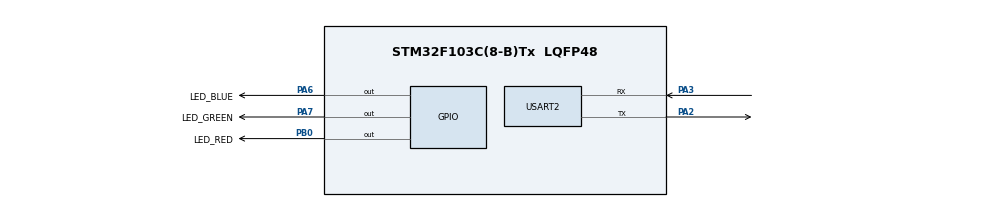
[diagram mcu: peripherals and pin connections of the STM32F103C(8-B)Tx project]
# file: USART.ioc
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Dma.Request0=USART2_TX
Dma.Request1=USART2_RX
Dma.USART2_RX.1.Direction=DMA_PERIPH_TO_MEMORY
Dma.USART2_RX.1.Instance=DMA1_Channel6
Dma.USART2_RX.1.MemDataAlignment=DMA_MDATAALIGN_BYTE
Dma.USART2_RX.1.MemInc=DMA_MINC_ENABLE
Dma.USART2_RX.1.Mode=DMA_NORMAL
Dma.USART2_RX.1.PeriphDataAlignment=DMA_PDATAALIGN_BYTE
Dma.USART2_RX.1.PeriphInc=DMA_PINC_DISABLE
Dma.USART2_RX.1.Priority=DMA_PRIORITY_LOW
Dma.USART2_TX.0.Direction=DMA_MEMORY_TO_PERIPH
Dma.USART2_TX.0.Instance=DMA1_Channel7
Dma.USART2_TX.0.MemDataAlignment=DMA_MDATAALIGN_BYTE
Dma.USART2_TX.0.MemInc=DMA_MINC_ENABLE
Dma.USART2_TX.0.Mode=DMA_NORMAL
Dma.USART2_TX.0.PeriphDataAlignment=DMA_PDATAALIGN_BYTE
Dma.USART2_TX.0.PeriphInc=DMA_PINC_DISABLE
Dma.USART2_TX.0.Priority=DMA_PRIORITY_LOW
Mcu.Family=STM32F1
Mcu.Name=STM32F103C(8-B)Tx
Mcu.Package=LQFP48
NVIC.DMA1_Channel6_IRQn=true\:0\:0\:false\:false\:true\:false\:true\:true
NVIC.DMA1_Channel7_IRQn=true\:0\:0\:false\:false\:true\:false\:true\:true
NVIC.PriorityGroup=NVIC_PRIORITYGROUP_4
NVIC.USART2_IRQn=true\:0\:0\:false\:false\:true\:true\:true\:true
PA13.Mode=Serial_Wire
PA13.Signal=SYS_JTMS-SWDIO
PA14.Mode=Serial_Wire
PA14.Signal=SYS_JTCK-SWCLK
PA2.Mode=Asynchronous
PA2.Signal=USART2_TX
PA3.Mode=Asynchronous
PA3.Signal=USART2_RX
PA6.GPIO_Label=LED_BLUE
PA6.Signal=GPIO_Output
PA7.GPIO_Label=LED_GREEN
PA7.Signal=GPIO_Output
PB0.GPIO_Label=LED_RED
PB0.Signal=GPIO_Output
ProjectManager.HeapSize=0x200
ProjectManager.StackSize=0x400
ProjectManager.TargetToolchain=STM32CubeIDE
RCC.APB1Freq_Value=8000000
RCC.APB2Freq_Value=8000000
USART2.VirtualMode=VM_ASYNC
board=custom

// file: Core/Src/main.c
/* USER CODE BEGIN Header */
/**
  ******************************************************************************
  * @file           : main.c
  * @brief          : Main program body
  ******************************************************************************
  * @attention
  *
  * Copyright (c) 2025 STMicroelectronics.
  * All rights reserved.
  *
  * This software is licensed under terms that can be found in the LICENSE file
  * in the root directory of this software component.
  * If no LICENSE file comes with this software, it is provided AS-IS.
  *
  ******************************************************************************
  */
/* USER CODE END Header */
#include "main.h"

/* USER CODE BEGIN Includes */
#include <string.h>
/* USER CODE END Includes */

UART_HandleTypeDef huart2;
DMA_HandleTypeDef hdma_usart2_tx;
DMA_HandleTypeDef hdma_usart2_rx;

/* USER CODE BEGIN PV */
uint8_t data[ 50 ];
/* USER CODE END PV */

void SystemClock_Config(void);
static void MX_GPIO_Init(void);
static void MX_DMA_Init(void);
static void MX_USART2_UART_Init(void);

/* USER CODE BEGIN 0 */
void HAL_UARTEx_RxEventCallback(UART_HandleTypeDef *huart, uint16_t Size){
	if(huart == &huart2){
	HAL_UART_Transmit_DMA(&huart2, data, sizeof(data));
	GPIO_PinState state = GPIO_PIN_SET ;
	  if(data[1] == '0'){
		  state = GPIO_PIN_RESET;
	  }
	  if(data[0] == 'R'){
		  HAL_GPIO_WritePin(LED_RED_GPIO_Port, LED_RED_Pin, state);
	  }else if(data[0] == 'G'){
		  HAL_GPIO_WritePin(LED_GREEN_GPIO_Port, LED_GREEN_Pin, state);
	  }else if(data[0] == 'B'){
		  HAL_GPIO_WritePin(LED_BLUE_GPIO_Port, LED_BLUE_Pin, state);
	  }
	  HAL_UARTEx_ReceiveToIdle_DMA(&huart2, data, 50);
	  __HAL_DMA_DISABLE_IT(&hdma_usart2_rx,DMA_IT_HT);
	}
}
/* USER CODE END 0 */

int main(void)
{

  /* MCU Configuration--------------------------------------------------------*/

  /* Reset of all peripherals, Initializes the Flash interface and the Systick. */
  HAL_Init();

  /* Configure the system clock */
  SystemClock_Config();

  /* Initialize all configured peripherals */
  MX_GPIO_Init();
  MX_DMA_Init();
  MX_USART2_UART_Init();
  /* USER CODE BEGIN 2 */
//  HAL_UART_Receive_DMA(&huart2, data, 2);
  HAL_UARTEx_ReceiveToIdle_DMA(&huart2, data, 50);
  __HAL_DMA_DISABLE_IT(&hdma_usart2_rx,DMA_IT_HT);
  /* USER CODE END 2 */

  /* Infinite loop */
  /* USER CODE BEGIN WHILE */
  while (1)
  {
	  //	  HAL_UART_Transmit( &huart2, (uint8_t*)message, strlen(message), 100 );
	  //	  HAL_Delay(1000);
    /* USER CODE END WHILE */

  }
}

void SystemClock_Config(void)
{
  RCC_OscInitTypeDef RCC_OscInitStruct = {0};
  RCC_ClkInitTypeDef RCC_ClkInitStruct = {0};

  /** Initializes the RCC Oscillators according to the specified parameters
  * in the RCC_OscInitTypeDef structure.
  */
  RCC_OscInitStruct.OscillatorType = RCC_OSCILLATORTYPE_HSI;
  RCC_OscInitStruct.HSIState = RCC_HSI_ON;
  RCC_OscInitStruct.HSICalibrationValue = RCC_HSICALIBRATION_DEFAULT;
  RCC_OscInitStruct.PLL.PLLState = RCC_PLL_NONE;
  if (HAL_RCC_OscConfig(&RCC_OscInitStruct) != HAL_OK)
  {
    Error_Handler();
  }

  /** Initializes the CPU, AHB and APB buses clocks
  */
  RCC_ClkInitStruct.ClockType = RCC_CLOCKTYPE_HCLK|RCC_CLOCKTYPE_SYSCLK
                              |RCC_CLOCKTYPE_PCLK1|RCC_CLOCKTYPE_PCLK2;
  RCC_ClkInitStruct.SYSCLKSource = RCC_SYSCLKSOURCE_HSI;
  RCC_ClkInitStruct.AHBCLKDivider = RCC_SYSCLK_DIV1;
  RCC_ClkInitStruct.APB1CLKDivider = RCC_HCLK_DIV1;
  RCC_ClkInitStruct.APB2CLKDivider = RCC_HCLK_DIV1;

  if (HAL_RCC_ClockConfig(&RCC_ClkInitStruct, FLASH_LATENCY_0) != HAL_OK)
  {
    Error_Handler();
  }
}

static void MX_USART2_UART_Init(void)
{

  huart2.Instance = USART2;
  huart2.Init.BaudRate = 115200;
  huart2.Init.WordLength = UART_WORDLENGTH_8B;
  huart2.Init.StopBits = UART_STOPBITS_1;
  huart2.Init.Parity = UART_PARITY_NONE;
  huart2.Init.Mode = UART_MODE_TX_RX;
  huart2.Init.HwFlowCtl = UART_HWCONTROL_NONE;
  huart2.Init.OverSampling = UART_OVERSAMPLING_16;
  if (HAL_UART_Init(&huart2) != HAL_OK)
  {
    Error_Handler();
  }

}

static void MX_DMA_Init(void)
{

  /* DMA controller clock enable */
  __HAL_RCC_DMA1_CLK_ENABLE();

  /* DMA interrupt init */
  /* DMA1_Channel6_IRQn interrupt configuration */
  HAL_NVIC_SetPriority(DMA1_Channel6_IRQn, 0, 0);
  HAL_NVIC_EnableIRQ(DMA1_Channel6_IRQn);
  /* DMA1_Channel7_IRQn interrupt configuration */
  HAL_NVIC_SetPriority(DMA1_Channel7_IRQn, 0, 0);
  HAL_NVIC_EnableIRQ(DMA1_Channel7_IRQn);

}

static void MX_GPIO_Init(void)
{
  GPIO_InitTypeDef GPIO_InitStruct = {0};

  /* GPIO Ports Clock Enable */
  __HAL_RCC_GPIOA_CLK_ENABLE();
  __HAL_RCC_GPIOB_CLK_ENABLE();

  /*Configure GPIO pin Output Level */
  HAL_GPIO_WritePin(GPIOA, LED_BLUE_Pin|LED_GREEN_Pin, GPIO_PIN_RESET);

  /*Configure GPIO pin Output Level */
  HAL_GPIO_WritePin(LED_RED_GPIO_Port, LED_RED_Pin, GPIO_PIN_RESET);

  /*Configure GPIO pins : LED_BLUE_Pin LED_GREEN_Pin */
  GPIO_InitStruct.Pin = LED_BLUE_Pin|LED_GREEN_Pin;
  GPIO_InitStruct.Mode = GPIO_MODE_OUTPUT_PP;
  GPIO_InitStruct.Pull = GPIO_NOPULL;
  GPIO_InitStruct.Speed = GPIO_SPEED_FREQ_LOW;
  HAL_GPIO_Init(GPIOA, &GPIO_InitStruct);

  /*Configure GPIO pin : LED_RED_Pin */
  GPIO_InitStruct.Pin = LED_RED_Pin;
  GPIO_InitStruct.Mode = GPIO_MODE_OUTPUT_PP;
  GPIO_InitStruct.Pull = GPIO_NOPULL;
  GPIO_InitStruct.Speed = GPIO_SPEED_FREQ_LOW;
  HAL_GPIO_Init(LED_RED_GPIO_Port, &GPIO_InitStruct);

}

void Error_Handler(void)
{
  __disable_irq();
  while (1)
  {
  }
}
